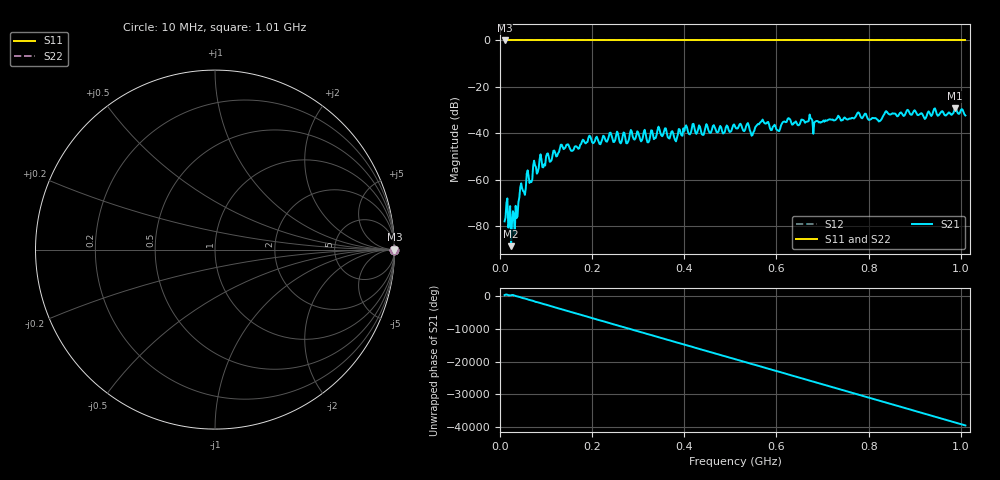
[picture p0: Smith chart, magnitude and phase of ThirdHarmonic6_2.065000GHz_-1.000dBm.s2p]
! 8/17/2025 12:44:40 AM
! C:\ANRITSUVNA\TEMP\TEMP.S2P
! CHANNEL.1
! TR.MEASUREMENT
! RAW.DATA
! RF.CORRECTION.OFF
! AVERAGING.OFF
! IF.BANDWIDTH: 5KHZ
! SWEEPTYPE:  FREQ.SWEEP(Linear)
! Reference Plane Port Info
! PORT:  PORT1  PORT2
! DISTANCE:  0  m  0  m
! TIME:  0  s  0  s
! PHASE.OFFSET:  0  deg.  0  deg.
! LOSS:  0  dB  0  dB
! REF.LOSS:  0  dB  0  dB
! REF.FREQ:  0  Hz  0  Hz
! Power Info
! POWER:  -20  dBm  -20  dBm
! EFF.POWER:  -20  dBm  -20  dBm
! SOURCE.ATTEN:  0  dB  0  dB
! TEST.ATTEN:  0  dB  0  dB
# GHZ S RI R 50.0
! FREQ.GHZ  S11RE  S11IM  S21RE  S21IM  S12RE  S12IM  S22RE  S22IM
!; PortSelection: Port_12
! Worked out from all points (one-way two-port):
!   501 points, 10 MHz to 1.01 GHz, reference 50 ohm
!   highest |S21| = -29.17 dB at 988 MHz (marker M1); lowest = -88.6 dB at 24 MHz (marker M2)
!   lowest |S11| = 0.0 dB at 10 MHz (marker M3)
!   |S11| at or under -10 dB: nowhere
!   |S22| runs from 0.0 to 0.0 dB; largest |S21 - S12| = 1
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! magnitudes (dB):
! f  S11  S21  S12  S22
! 10 MHz  0.0  -77.9  0.0  0.0
! 24 MHz  0.0  -88.6  0.0  0.0
! 34 MHz  0.0  -71.2  0.0  0.0
! 44 MHz  0.0  -63.2  0.0  0.0
! 76 MHz  0.0  -53.8  0.0  0.0
! 178 MHz  0.0  -43.5  0.0  0.0
! 240 MHz  0.0  -39.7  0.0  0.0
! 276 MHz  0.0  -44.3  0.0  0.0
! 286 MHz  0.0  -39.2  0.0  0.0
! 322 MHz  0.0  -43.9  0.0  0.0
! 344 MHz  0.0  -37.1  0.0  0.0
! 382 MHz  0.0  -43.5  0.0  0.0
! 402 MHz  0.0  -37.2  0.0  0.0
! 510 MHz  0.0  -37.0  0.0  0.0
! 548 MHz  0.0  -40.7  0.0  0.0
! 568 MHz  0.0  -34.6  0.0  0.0
! 604 MHz  0.0  -38.9  0.0  0.0
! 626 MHz  0.0  -33.4  0.0  0.0
! 678 MHz  0.0  -34.6  0.0  0.0
! 844 MHz  0.0  -31.7  0.0  0.0
! 988 MHz  0.0  -29.2  0.0  0.0
! 1.01 GHz  0.0  -32.3  0.0  0.0
